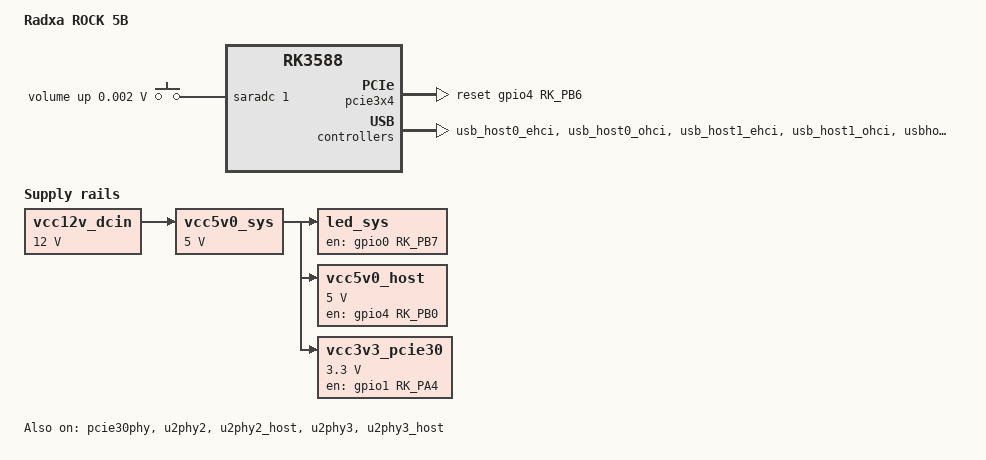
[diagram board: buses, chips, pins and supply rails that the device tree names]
// SPDX-License-Identifier: (GPL-2.0+ OR MIT)
/*
 * Copyright (c) 2021 Rockchip Electronics Co., Ltd
 *
 */

/dts-v1/;
#include "rk3588.dtsi"
#include "rk3588-rock-5b-u-boot.dtsi"
#include <dt-bindings/input/input.h>

/ {
	model = "Radxa ROCK 5B";
	compatible = "radxa,rock-5b", "rockchip,rk3588";

	vcc12v_dcin: vcc12v-dcin {
		u-boot,dm-pre-reloc;
		compatible = "regulator-fixed";
		regulator-name = "vcc12v_dcin";
		regulator-always-on;
		regulator-boot-on;
		regulator-min-microvolt = <12000000>;
		regulator-max-microvolt = <12000000>;
	};

	vcc5v0_sys: vcc5v0-sys {
		u-boot,dm-pre-reloc;
		compatible = "regulator-fixed";
		regulator-name = "vcc5v0_sys";
		regulator-always-on;
		regulator-boot-on;
		regulator-min-microvolt = <5000000>;
		regulator-max-microvolt = <5000000>;
		vin-supply = <&vcc12v_dcin>;
	};

	led_sys: led-sys {
		u-boot,dm-pre-reloc;
		compatible = "regulator-fixed";
		regulator-name = "led_sys";
		enable-active-high;
		gpio = <&gpio0 RK_PB7 GPIO_ACTIVE_HIGH>; // Turn on user led
		regulator-boot-on;
		regulator-always-on;
		vin-supply = <&vcc5v0_sys>;
	};

	adc-keys {
		compatible = "adc-keys";
		io-channels = <&saradc 1>;
		io-channel-names = "buttons";
		keyup-threshold-microvolt = <1800000>;
		u-boot,dm-pre-reloc;
		status = "okay";

		volumeup-key {
			u-boot,dm-pre-reloc;
			linux,code = <KEY_VOLUMEUP>;
			label = "volume up";
			press-threshold-microvolt = <1750>;
		};
	};

	vcc5v0_host: vcc5v0-host-regulator {
		u-boot,dm-pre-reloc;
		compatible = "regulator-fixed";
		regulator-name = "vcc5v0_host";
		regulator-boot-on;
		regulator-always-on;
		regulator-min-microvolt = <5000000>;
		regulator-max-microvolt = <5000000>;
		enable-active-high;
		gpio = <&gpio4 RK_PB0 GPIO_ACTIVE_HIGH>;
		pinctrl-names = "default";
		pinctrl-0 = <&vcc5v0_host_en>;
		vin-supply = <&vcc5v0_sys>;
	};

	vcc3v3_pcie30: vcc3v3-pcie30 {
		u-boot,dm-pre-reloc;
		compatible = "regulator-fixed";
		regulator-name = "vcc3v3_pcie30";
		regulator-min-microvolt = <3300000>;
		regulator-max-microvolt = <3300000>;
		enable-active-high;
		gpio = <&gpio1 RK_PA4 GPIO_ACTIVE_HIGH>;
		regulator-boot-on;
		regulator-always-on;
		vin-supply = <&vcc5v0_sys>;
	};
};

&pcie3x4 {
	u-boot,dm-pre-reloc;
	reset-gpios = <&gpio4 RK_PB6 GPIO_ACTIVE_HIGH>;
	status = "okay";

};

&pcie30phy {
	u-boot,dm-pre-reloc;
	status = "okay";
};

&u2phy2 {
	u-boot,dm-pre-reloc;
	status = "okay";
};

&u2phy2_host {
	u-boot,dm-pre-reloc;
	status = "okay";
};

&u2phy3 {
	u-boot,dm-pre-reloc;
	status = "okay";
};

&u2phy3_host {
	u-boot,dm-pre-reloc;
	status = "okay";
};

&usb_host0_ehci {
	u-boot,dm-pre-reloc;
	status = "okay";
};

&usb_host0_ohci {
	u-boot,dm-pre-reloc;
	status = "okay";
};

&usb_host1_ehci {
	u-boot,dm-pre-reloc;
	status = "okay";
};

&usb_host1_ohci {
	u-boot,dm-pre-reloc;
	status = "okay";
};

&usbhost3_0 {
	u-boot,dm-pre-reloc;
	status = "okay";
};

&usbhost_dwc3_0 {
	u-boot,dm-pre-reloc;
	status = "okay";
};

&pinctrl {
	usb {

		vcc5v0_host_en: vcc5v0-host-en {
			u-boot,dm-pre-reloc;
			rockchip,pins = <4 RK_PB0 RK_FUNC_GPIO &pcfg_pull_none>;
		};

		vcc5v0_otg_en: vcc5v0-otg-en {
			u-boot,dm-pre-reloc;
			rockchip,pins = <2 RK_PC5 RK_FUNC_GPIO &pcfg_pull_none>;
		};
	};

	usb-typec {
		usbc0_int: usbc0-int {
			u-boot,dm-pre-reloc;
			rockchip,pins = <3 RK_PB4 RK_FUNC_GPIO &pcfg_pull_up>;
		};
	};
};
